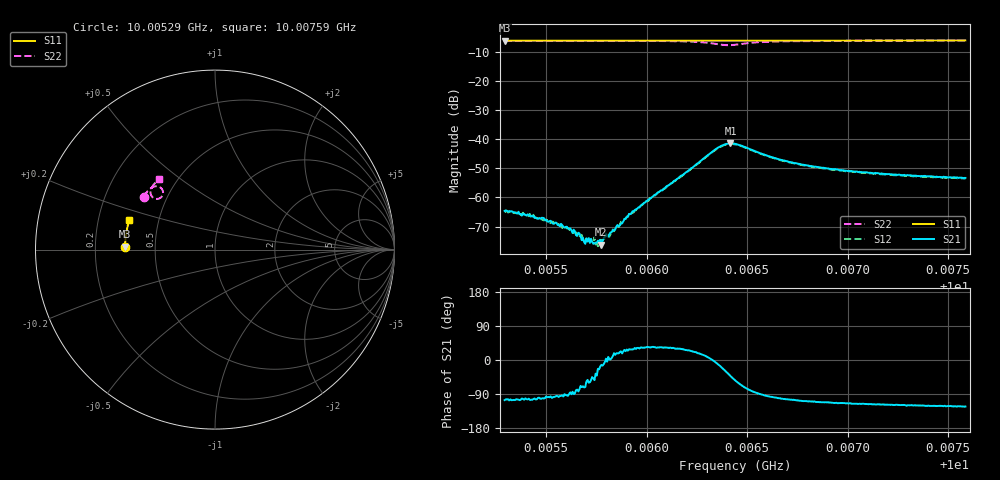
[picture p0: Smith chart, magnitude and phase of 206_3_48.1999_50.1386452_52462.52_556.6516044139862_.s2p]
#  HZ  S  RI  R  50.00
! Rohde & Schwarz Vector Network Analyzer
! Rohde-Schwarz,ZNB20-2Port,1311601062101988,3.16
! Created: UTC 3/20/2024, 11:45:15 AM
! freq[Hz]  re:S11  im:S11  re:S21  im:S21  re:S12  im:S12  re:S22  im:S22
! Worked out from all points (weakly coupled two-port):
!   401 points, 10.00529 GHz to 10.00759 GHz, reference 50 ohm
!   highest |S21| = -41.40 dB at 10.00642 GHz (marker M1); lowest = -76.3 dB at 10.00578 GHz (marker M2)
!   lowest |S11| = -6.0 dB at 10.00529 GHz (marker M3), VSWR 3.00, Z = 16.7 + j0.739 ohm
!   |S11| at or under -10 dB: nowhere
!   |S22| runs from -7.6 to -6.0 dB; largest |S21 - S12| = 0.0005
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1.0005294e10  -0.5 0.0166  -0.00016 -0.000565  -0.000117 -0.000548  -0.3984 0.2953
1.0005432e10  -0.5001 0.0255  -0.00012 -0.000455  -7.07e-05 -0.000463  -0.3925 0.3036
1.0005489e10  -0.4998 0.0293  -8.95e-05 -0.000433  -5.56e-05 -0.000399  -0.3902 0.3069
1.0005609e10  -0.4997 0.0371  -2.32e-05 -0.000292  1.54e-05 -0.000299  -0.3847 0.3142
1.0005678e10  -0.4993 0.0417  5.81e-05 -0.000174  7.46e-05 -0.000215  -0.3812 0.3182
1.0005689e10  -0.4993 0.0424  5.2e-05 -0.000163  4.54e-05 -0.000192  -0.3806 0.3191
1.0005712e10  -0.4992 0.0438  0.000101 -0.000173  7.61e-05 -0.00017  -0.3793 0.3206
1.0005741e10  -0.4991 0.0457  9.79e-05 -0.00013  0.000156 -0.000136  -0.3779 0.3223
1.0005758e10  -0.499 0.0468  0.000166 -7.13e-05  0.000125 -7.35e-05  -0.377 0.3234
1.0005775e10  -0.499 0.0478  0.00015 -3.39e-05  0.000181 -4.18e-05  -0.3761 0.3245
1.0005793e10  -0.4989 0.0491  0.000207 -2.14e-05  0.000218 -2.7e-05  -0.375 0.3256
1.0005827e10  -0.4987 0.0513  0.000254 2.43e-05  0.000251 6.04e-05  -0.373 0.3279
1.0005873e10  -0.4984 0.0543  0.000326 0.000137  0.000353 0.000143  -0.3701 0.3309
1.0005924e10  -0.4982 0.0577  0.000465 0.000245  0.000464 0.000277  -0.3665 0.3344
1.0006062e10  -0.4973 0.0664  0.00104 0.000676  0.000983 0.000759  -0.3545 0.3439
1.0006348e10  -0.4946 0.0847  0.00685 -0.00101  0.00678 -0.000637  -0.2913 0.3286
1.0006417e10  -0.494 0.0887  0.00631 -0.00571  0.00645 -0.0053  -0.304 0.2884
1.000644e10  -0.4938 0.09  0.005 -0.00675  0.00522 -0.00632  -0.318 0.2827
1.0006652e10  -0.4921 0.1038  -0.000842 -0.00453  -0.000595 -0.0045  -0.3592 0.3265
1.0006824e10  -0.4902 0.1147  -0.00114 -0.00326  -0.00101 -0.00321  -0.3516 0.3476
1.0007208e10  -0.4848 0.1389  -0.00119 -0.00222  -0.00108 -0.00222  -0.3314 0.3743
1.0007586e10  -0.4782 0.1623  -0.00118 -0.00183  -0.00107 -0.00184  -0.3119 0.3937
